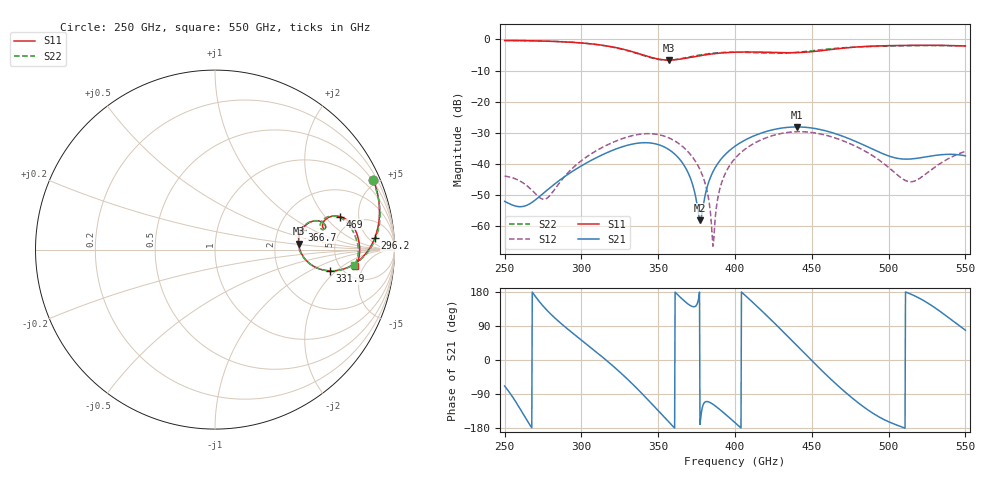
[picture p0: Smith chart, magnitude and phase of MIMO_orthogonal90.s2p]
! TOUCHSTONE file generated by CST MICROWAVE STUDIO
! Date and time: Wed Oct 14 07:08:45 2026
! Project name: MIMO_orthogonal90.cst
! Parameters = {GNDoffSet=175; L=205.1; Lf=105; MaxFreq=0.55; Outer=102.55; SUBoffset=0; TH=21.65; W=314.9; WSUB=625.527; Wf=22.6; bend=0; chamf=0; dant=625.527; dx1=-9; dy1=9; epsilon=2.7; h=84.97; minFreq=0.25; radius=26.46; u1=89.5141; u2=180.923; u3=199.856; u4=0; v1=10.0806; v2=65.3811; v3=134.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
! Header version: 2024
! Port assignment regex: !\s*Touchstone port\s*([0-9]+)\s*=\s*(CST MWS port|CST DES external port|CST DES block port)\s*(.+)\s* \(\"(.*)\"\)(\s*mode\s*([0-9]+))?.*
! Touchstone port assignment:
! Touchstone port 1 = CST MWS port 1 ("")
! Touchstone port 2 = CST MWS port 2 ("")
# GHz S MA R 50
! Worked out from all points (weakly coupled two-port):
!   1001 points, 250 GHz to 550 GHz, reference 50 ohm
!   highest |S21| = -28.09 dB at 440.2 GHz (marker M1); lowest = -58.0 dB at 377.2 GHz (marker M2)
!   lowest |S11| = -6.6 dB at 356.8 GHz (marker M3), VSWR 2.75, Z = 137 + j11.4 ohm
!   |S11| at or under -10 dB: nowhere
!   |S22| runs from -6.7 to -0.3 dB; largest |S21 - S12| = 0.014
!   S11 on the Smith chart (normalised r, x): 250 GHz: 0.43, +4.73; 296.2 GHz: 13, +8; 331.9 GHz: 4.00, -1.64; 366.7 GHz: 2.70, +0.77; 469 GHz: 3.80, +2.90; 550 GHz: 6.70, -3.30
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250  0.9637 23.7  0.002515 -68.6  0.006387 79.4  0.9625 23.6
262.6  0.9572 18.6  0.0021 -146.0  0.004864 27.9  0.9558 18.8
276.1  0.9406 13.0  0.003534 137.7  0.002725 34.3  0.944 13.2
296.2  0.8922 4.1  0.008214 64.7  0.009499 32.5  0.8955 3.8
300.1  0.8777 2.3  0.00939 52.1  0.01138 22.2  0.8797 1.9
331.9  0.6497 -10.5  0.02058 -58.0  0.02805 -82.6  0.6406 -10.6
350.2  0.4842 -3.0  0.02046 -134.7  0.02968 -158.4  0.4768 -2.0
356.8  0.4672 4.0  0.01717 -163.3  0.02638 172.9  0.4649 5.6
366.7  0.4942 12.7  0.00966 156.8  0.01834 130.6  0.5025 14.1
372.1  0.5221 15.1  0.004936 141.4  0.01315 108.1  0.535 16.0
377.2  0.5492 16.1  0.001258 -170.0  0.008141 86.9  0.5646 16.4
381.7  0.5711 16.2  0.004125 -109.6  0.003802 66.1  0.5869 16.0
385.9  0.5887 15.9  0.007738 -117.6  0.0004961 -52.0  0.6033 15.2
391  0.6059 15.1  0.01206 -133.7  0.004771 -135.3  0.617 14.0
400  0.6245 13.4  0.01932 -165.3  0.01229 -170.8  0.6254 11.9
417.4  0.6261 10.9  0.03161 129.9  0.02471 125.2  0.6066 10.6
440.2  0.6147 13.0  0.03942 38.3  0.03303 36.5  0.6211 15.3
450.1  0.6364 15.2  0.03784 -2.2  0.03208 -3.2  0.6593 16.2
469  0.7189 14.8  0.02861 -75.0  0.02429 -77.0  0.7327 13.4
500.2  0.7954 6.3  0.01344 -163.2  0.008738 179.0  0.7828 5.9
515.8  0.8042 2.2  0.01214 171.5  0.005238 172.5  0.7956 2.3
550  0.7862 -6.9  0.01354 78.7  0.01599 81.8  0.7813 -6.5
